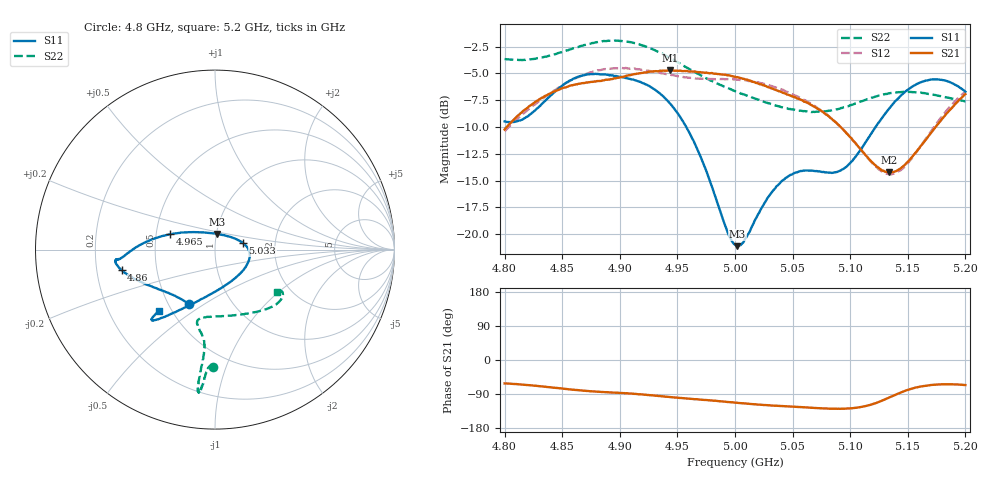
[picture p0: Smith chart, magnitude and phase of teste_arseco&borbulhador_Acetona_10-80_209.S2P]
! Network Analyzer HP8722D
! Hewlett-Packard
! Data name: Linha & Wilkinson
! Saver's name: Rodrigo Anjos
! Comments: Teste da utilização de aquisição
! continua pelo VNA HP8722D
! Time and date: 17/4/2025 16:06
!  Frequency  S11  S21  S12  S22
# HZ  S  MA R 50
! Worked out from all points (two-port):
!   401 points, 4.8 GHz to 5.2 GHz, reference 50 ohm
!   highest |S21| = -4.71 dB at 4.944 GHz (marker M1); lowest = -14.2 dB at 5.134 GHz (marker M2)
!   |S21| within 3 dB of the highest: 4.826 GHz to 5.062 GHz (235.8 MHz wide, 4.77 % of centre); 5.192602 GHz to end of sweep
!   lowest |S11| = -21.1 dB at 5.002 GHz (marker M3), VSWR 1.19, Z = 50.5 + j8.85 ohm
!   |S11| at or under -10 dB: 4.958 GHz to 5.122 GHz (164.3 MHz wide, 3.26 % of centre)
!   |S22| runs from -8.6 to -1.9 dB; largest |S21 - S12| = 0.87
!   S11 on the Smith chart (normalised r, x): 4.8 GHz: 0.63, -0.43; 4.86 GHz: 0.31, -0.10; 4.965 GHz: 0.59, +0.11; 5.033 GHz: 1.36, +0.10; 5.2 GHz: 0.43, -0.37
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4.8e9  0.3359 -115.9  0.3079 -61.9  0.3021 -175.9  0.6563 -91.1
4.818e9  0.349 -134.9  0.3829 -65.5  0.3725 -175.4  0.65 -92.5
4.86e9  0.5327 -167.5  0.4977 -78.4  0.5286 -178.7  0.7368 -95.0
4.867e9  0.5486 -170.2  0.5061 -80.5  0.5506 -179.8  0.7571 -95.3
4.898e9  0.5447 -174.3  0.5367 -86.5  0.5942 174.0  0.799 -96.6
4.934e9  0.4576 179.9  0.577 -95.1  0.5689 170.5  0.7055 -97.0
4.944e9  0.4048 175.3  0.5817 -97.9  0.5536 170.6  0.6627 -96.7
4.965e9  0.2654 161.2  0.5748 -103.5  0.5334 172.5  0.5706 -96.0
4.993e9  0.104 114.9  0.5519 -110.7  0.529 174.7  0.4826 -98.5
5e9  0.08932 89.7  0.543 -112.5  0.5284 174.8  0.465 -99.9
5.002e9  0.08787 81.8  0.5406 -113.0  0.5256 174.8  0.4624 -100.4
5.009e9  0.09541 57.2  0.527 -114.9  0.5232 174.6  0.4456 -101.8
5.033e9  0.1595 13.5  0.4768 -120.3  0.4883 173.4  0.4015 -103.5
5.049e9  0.1895 -1.9  0.4406 -122.9  0.4518 172.7  0.3822 -99.3
5.067e9  0.1978 -21.2  0.3989 -126.1  0.4032 172.6  0.3715 -89.1
5.096e9  0.2049 -71.8  0.2993 -128.3  0.2996 174.6  0.3928 -66.5
5.121e9  0.3094 -109.9  0.2113 -115.0  0.2097 -169.9  0.437 -49.5
5.134e9  0.3867 -120.0  0.1942 -98.9  0.1904 -151.9  0.4546 -43.2
5.148e9  0.4635 -126.5  0.2117 -81.0  0.2085 -131.1  0.4616 -37.9
5.168e9  0.5234 -131.2  0.2872 -66.9  0.2911 -113.1  0.4507 -33.1
5.184e9  0.5177 -132.5  0.3674 -64.1  0.3792 -108.4  0.4346 -32.0
5.2e9  0.4618 -132.5  0.4499 -66.1  0.4619 -108.2  0.4164 -34.5
